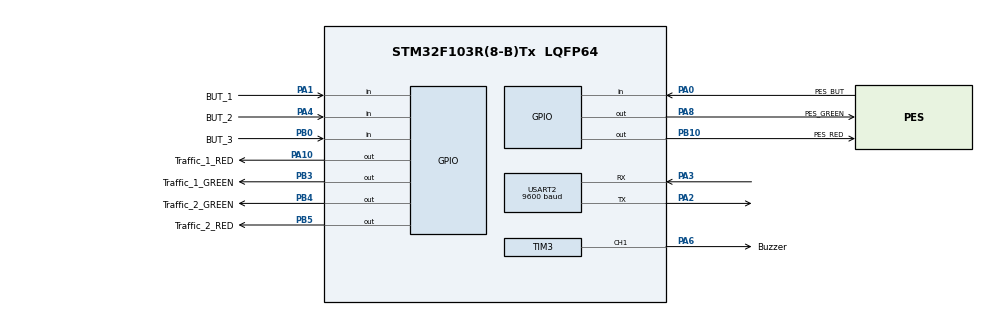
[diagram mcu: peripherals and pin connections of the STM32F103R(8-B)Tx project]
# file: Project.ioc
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Mcu.Family=STM32F1
Mcu.Name=STM32F103R(8-B)Tx
Mcu.Package=LQFP64
NVIC.PriorityGroup=NVIC_PRIORITYGROUP_4
NVIC.TIM2_IRQn=true\:0\:0\:false\:false\:true\:true\:true
NVIC.TIM3_IRQn=true\:0\:0\:false\:false\:true\:true\:true
NVIC.USART2_IRQn=true\:0\:0\:false\:false\:true\:true\:true
PA0-WKUP.GPIO_Label=PES_BUT
PA0-WKUP.GPIO_PuPd=GPIO_PULLUP
PA0-WKUP.Signal=GPIO_Input
PA1.GPIO_Label=BUT_1
PA1.GPIO_PuPd=GPIO_PULLUP
PA1.Signal=GPIO_Input
PA10.GPIO_Label=Traffic_1_RED
PA10.Signal=GPIO_Output
PA13.Mode=Serial_Wire
PA13.Signal=SYS_JTMS-SWDIO
PA14.Mode=Serial_Wire
PA14.Signal=SYS_JTCK-SWCLK
PA2.Mode=Asynchronous
PA2.Signal=USART2_TX
PA3.Mode=Asynchronous
PA3.Signal=USART2_RX
PA4.GPIO_Label=BUT_2
PA4.GPIO_PuPd=GPIO_PULLUP
PA4.Signal=GPIO_Input
PA6.GPIO_Label=Buzzer
PA6.Signal=S_TIM3_CH1
PA8.GPIO_Label=PES_GREEN
PA8.Signal=GPIO_Output
PB0.GPIO_Label=BUT_3
PB0.GPIO_PuPd=GPIO_PULLUP
PB0.Signal=GPIO_Input
PB10.GPIO_Label=PES_RED
PB10.Signal=GPIO_Output
PB3.GPIO_Label=Traffic_1_GREEN
PB3.Signal=GPIO_Output
PB4.GPIO_Label=Traffic_2_GREEN
PB4.Signal=GPIO_Output
PB5.GPIO_Label=Traffic_2_RED
PB5.Signal=GPIO_Output
ProjectManager.HeapSize=0x200
ProjectManager.StackSize=0x400
ProjectManager.TargetToolchain=STM32CubeIDE
RCC.APB1Freq_Value=8000000
RCC.APB2Freq_Value=8000000
SH.S_TIM3_CH1.0=TIM3_CH1,PWM Generation1 CH1
TIM2.Period=9
TIM2.Prescaler=7999
TIM3.Channel-PWM\ Generation1\ CH1=TIM_CHANNEL_1
TIM3.Period=254
TIM3.Prescaler=122
USART2.BaudRate=9600
USART2.VirtualMode=VM_ASYNC
VP_TIM2_VS_ClockSourceINT.Mode=Internal
VP_TIM3_VS_ClockSourceINT.Mode=Internal
board=custom

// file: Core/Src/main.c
/* USER CODE BEGIN Header */
/**
  ******************************************************************************
  * @file           : main.c
  * @brief          : Main program body
  ******************************************************************************
  * @attention
  *
  * <h2><center>&copy; Copyright (c) 2022 STMicroelectronics.
  * All rights reserved.</center></h2>
  *
  * This software component is licensed by ST under BSD 3-Clause license,
  * the "License"; You may not use this file except in compliance with the
  * License. You may obtain a copy of the License at:
  *                        opensource.org/licenses/BSD-3-Clause
  *
  ******************************************************************************
  */
/* USER CODE END Header */
#include "main.h"
#include "input_processing.h"
#include "input_reading.h"
#include "timer.h"
#include "stdio.h"

TIM_HandleTypeDef htim2;
TIM_HandleTypeDef htim3;

UART_HandleTypeDef huart2;

void SystemClock_Config(void);
static void MX_GPIO_Init(void);
static void MX_TIM3_Init(void);
static void MX_TIM2_Init(void);
static void MX_USART2_UART_Init(void);
/* USER CODE BEGIN PFP */
void buzzer_boi(uint8_t buzzer);
void send_uart(int value1, int value2);
/* USER CODE END PFP */

/* USER CODE BEGIN 0 */
uint8_t rx_data;
void HAL_UART_RxCpltCallback(UART_HandleTypeDef* huart)
{
	if(huart->Instance==USART2)
	{
		HAL_UART_Transmit(&huart2,&rx_data,sizeof(rx_data), 50);
		HAL_UART_Receive_IT(&huart2, &rx_data, 1);
	}
}
void buzzer_boi(uint8_t buzzer)
{
	__HAL_TIM_SetCompare(&htim3,TIM_CHANNEL_1,buzzer);
}
void send_uart(int value1,int value2)
{
	uint8_t str[30]="\0";
	sprintf(str,"!7SEG_1#: %d\r\n",value1);
	HAL_UART_Transmit(&huart2,str,sizeof(str),50);
	sprintf(str,"!7SEG_2#: %d\r\n",value2);
	HAL_UART_Transmit(&huart2,str,sizeof(str),50);
}
/* USER CODE END 0 */

int main(void)
{

  /* MCU Configuration--------------------------------------------------------*/

  /* Reset of all peripherals, Initializes the Flash interface and the Systick. */
  HAL_Init();

  /* Configure the system clock */
  SystemClock_Config();

  /* Initialize all configured peripherals */
  MX_GPIO_Init();
  MX_TIM3_Init();
  MX_TIM2_Init();
  MX_USART2_UART_Init();
  /* USER CODE BEGIN 2 */
  HAL_TIM_Base_Start_IT(&htim2);
  HAL_UART_Receive_IT (& huart2 , &rx_data , 1) ;
  HAL_TIM_PWM_Start(&htim3,TIM_CHANNEL_1);
  /* USER CODE END 2 */

  /* Infinite loop */
  /* USER CODE BEGIN WHILE */
  initial();
//HAL_GPIO_WritePin(Traffic_1_GREEN_GPIO_Port, Traffic_1_GREEN_Pin, 0);
//HAL_GPIO_WritePin(Traffic_1_RED_GPIO_Port, Traffic_1_RED_Pin, 0);
  while (1)
  {
	  fsm_automatic();

    /* USER CODE END WHILE */

  }
}

void SystemClock_Config(void)
{
  RCC_OscInitTypeDef RCC_OscInitStruct = {0};
  RCC_ClkInitTypeDef RCC_ClkInitStruct = {0};

  /** Initializes the RCC Oscillators according to the specified parameters
  * in the RCC_OscInitTypeDef structure.
  */
  RCC_OscInitStruct.OscillatorType = RCC_OSCILLATORTYPE_HSI;
  RCC_OscInitStruct.HSIState = RCC_HSI_ON;
  RCC_OscInitStruct.HSICalibrationValue = RCC_HSICALIBRATION_DEFAULT;
  RCC_OscInitStruct.PLL.PLLState = RCC_PLL_NONE;
  if (HAL_RCC_OscConfig(&RCC_OscInitStruct) != HAL_OK)
  {
    Error_Handler();
  }
  /** Initializes the CPU, AHB and APB buses clocks
  */
  RCC_ClkInitStruct.ClockType = RCC_CLOCKTYPE_HCLK|RCC_CLOCKTYPE_SYSCLK
                              |RCC_CLOCKTYPE_PCLK1|RCC_CLOCKTYPE_PCLK2;
  RCC_ClkInitStruct.SYSCLKSource = RCC_SYSCLKSOURCE_HSI;
  RCC_ClkInitStruct.AHBCLKDivider = RCC_SYSCLK_DIV1;
  RCC_ClkInitStruct.APB1CLKDivider = RCC_HCLK_DIV1;
  RCC_ClkInitStruct.APB2CLKDivider = RCC_HCLK_DIV1;

  if (HAL_RCC_ClockConfig(&RCC_ClkInitStruct, FLASH_LATENCY_0) != HAL_OK)
  {
    Error_Handler();
  }
}

static void MX_TIM2_Init(void)
{

  TIM_ClockConfigTypeDef sClockSourceConfig = {0};
  TIM_MasterConfigTypeDef sMasterConfig = {0};

  htim2.Instance = TIM2;
  htim2.Init.Prescaler = 7999;
  htim2.Init.CounterMode = TIM_COUNTERMODE_UP;
  htim2.Init.Period = 9;
  htim2.Init.ClockDivision = TIM_CLOCKDIVISION_DIV1;
  htim2.Init.AutoReloadPreload = TIM_AUTORELOAD_PRELOAD_DISABLE;
  if (HAL_TIM_Base_Init(&htim2) != HAL_OK)
  {
    Error_Handler();
  }
  sClockSourceConfig.ClockSource = TIM_CLOCKSOURCE_INTERNAL;
  if (HAL_TIM_ConfigClockSource(&htim2, &sClockSourceConfig) != HAL_OK)
  {
    Error_Handler();
  }
  sMasterConfig.MasterOutputTrigger = TIM_TRGO_RESET;
  sMasterConfig.MasterSlaveMode = TIM_MASTERSLAVEMODE_DISABLE;
  if (HAL_TIMEx_MasterConfigSynchronization(&htim2, &sMasterConfig) != HAL_OK)
  {
    Error_Handler();
  }

}

static void MX_TIM3_Init(void)
{

  TIM_ClockConfigTypeDef sClockSourceConfig = {0};
  TIM_MasterConfigTypeDef sMasterConfig = {0};
  TIM_OC_InitTypeDef sConfigOC = {0};

  htim3.Instance = TIM3;
  htim3.Init.Prescaler = 122;
  htim3.Init.CounterMode = TIM_COUNTERMODE_UP;
  htim3.Init.Period = 254;
  htim3.Init.ClockDivision = TIM_CLOCKDIVISION_DIV1;
  htim3.Init.AutoReloadPreload = TIM_AUTORELOAD_PRELOAD_DISABLE;
  if (HAL_TIM_Base_Init(&htim3) != HAL_OK)
  {
    Error_Handler();
  }
  sClockSourceConfig.ClockSource = TIM_CLOCKSOURCE_INTERNAL;
  if (HAL_TIM_ConfigClockSource(&htim3, &sClockSourceConfig) != HAL_OK)
  {
    Error_Handler();
  }
  if (HAL_TIM_PWM_Init(&htim3) != HAL_OK)
  {
    Error_Handler();
  }
  sMasterConfig.MasterOutputTrigger = TIM_TRGO_RESET;
  sMasterConfig.MasterSlaveMode = TIM_MASTERSLAVEMODE_DISABLE;
  if (HAL_TIMEx_MasterConfigSynchronization(&htim3, &sMasterConfig) != HAL_OK)
  {
    Error_Handler();
  }
  sConfigOC.OCMode = TIM_OCMODE_PWM1;
  sConfigOC.Pulse = 0;
  sConfigOC.OCPolarity = TIM_OCPOLARITY_HIGH;
  sConfigOC.OCFastMode = TIM_OCFAST_DISABLE;
  if (HAL_TIM_PWM_ConfigChannel(&htim3, &sConfigOC, TIM_CHANNEL_1) != HAL_OK)
  {
    Error_Handler();
  }
  HAL_TIM_MspPostInit(&htim3);

}

static void MX_USART2_UART_Init(void)
{

  huart2.Instance = USART2;
  huart2.Init.BaudRate = 9600;
  huart2.Init.WordLength = UART_WORDLENGTH_8B;
  huart2.Init.StopBits = UART_STOPBITS_1;
  huart2.Init.Parity = UART_PARITY_NONE;
  huart2.Init.Mode = UART_MODE_TX_RX;
  huart2.Init.HwFlowCtl = UART_HWCONTROL_NONE;
  huart2.Init.OverSampling = UART_OVERSAMPLING_16;
  if (HAL_UART_Init(&huart2) != HAL_OK)
  {
    Error_Handler();
  }

}

static void MX_GPIO_Init(void)
{
  GPIO_InitTypeDef GPIO_InitStruct = {0};

  /* GPIO Ports Clock Enable */
  __HAL_RCC_GPIOA_CLK_ENABLE();
  __HAL_RCC_GPIOB_CLK_ENABLE();

  /*Configure GPIO pin Output Level */
  HAL_GPIO_WritePin(GPIOB, PES_RED_Pin|Traffic_1_GREEN_Pin|Traffic_2_GREEN_Pin|Traffic_2_RED_Pin, GPIO_PIN_RESET);

  /*Configure GPIO pin Output Level */
  HAL_GPIO_WritePin(GPIOA, PES_GREEN_Pin|Traffic_1_RED_Pin, GPIO_PIN_RESET);

  /*Configure GPIO pins : PES_BUT_Pin BUT_1_Pin BUT_2_Pin */
  GPIO_InitStruct.Pin = PES_BUT_Pin|BUT_1_Pin|BUT_2_Pin;
  GPIO_InitStruct.Mode = GPIO_MODE_INPUT;
  GPIO_InitStruct.Pull = GPIO_PULLUP;
  HAL_GPIO_Init(GPIOA, &GPIO_InitStruct);

  /*Configure GPIO pin : BUT_3_Pin */
  GPIO_InitStruct.Pin = BUT_3_Pin;
  GPIO_InitStruct.Mode = GPIO_MODE_INPUT;
  GPIO_InitStruct.Pull = GPIO_PULLUP;
  HAL_GPIO_Init(BUT_3_GPIO_Port, &GPIO_InitStruct);

  /*Configure GPIO pins : PES_RED_Pin Traffic_1_GREEN_Pin Traffic_2_GREEN_Pin Traffic_2_RED_Pin */
  GPIO_InitStruct.Pin = PES_RED_Pin|Traffic_1_GREEN_Pin|Traffic_2_GREEN_Pin|Traffic_2_RED_Pin;
  GPIO_InitStruct.Mode = GPIO_MODE_OUTPUT_PP;
  GPIO_InitStruct.Pull = GPIO_NOPULL;
  GPIO_InitStruct.Speed = GPIO_SPEED_FREQ_LOW;
  HAL_GPIO_Init(GPIOB, &GPIO_InitStruct);

  /*Configure GPIO pins : PES_GREEN_Pin Traffic_1_RED_Pin */
  GPIO_InitStruct.Pin = PES_GREEN_Pin|Traffic_1_RED_Pin;
  GPIO_InitStruct.Mode = GPIO_MODE_OUTPUT_PP;
  GPIO_InitStruct.Pull = GPIO_NOPULL;
  GPIO_InitStruct.Speed = GPIO_SPEED_FREQ_LOW;
  HAL_GPIO_Init(GPIOA, &GPIO_InitStruct);

}

void Error_Handler(void)
{
  __disable_irq();
  while (1)
  {
  }
}

/************************ (C) COPYRIGHT STMicroelectronics *****END OF FILE****/
